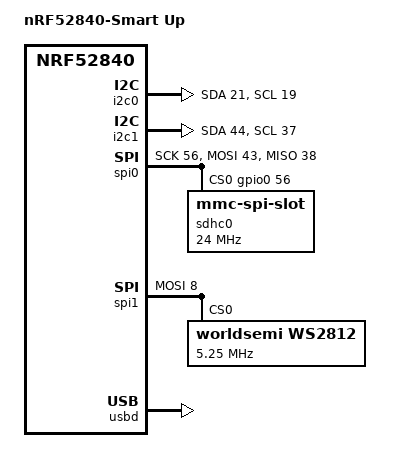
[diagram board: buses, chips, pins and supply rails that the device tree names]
/*
 * Copyright (c) 2017 Linaro Limited
 *
 * SPDX-License-Identifier: Apache-2.0
 */

/dts-v1/;
#include <nordic/nrf52840_qiaa.dtsi>

/ {
    model = "nRF52840-Smart Up";
    compatible = "nordic,nrf52840-qiaa","nordic,nrf52840";

    chosen {
        zephyr,sram = &sram0;
        zephyr,flash = &flash0;
        zephyr,code-partition = &slot0_partition;
    };

    /* These aliases are provided for compatibility with samples */
    aliases {
        icm-20498 = &i2c0;
        bmp-280 = &i2c1;
        sd-card = &spi0;
        neo-pixel = &spi1;
    };
};

&gpio0 {
	status ="ok";
};

&gpio1 {
	status ="ok";
};

&gpiote {
	status ="ok";
};

&i2c0  {
    status = "ok";
    sda-pin = <21>;
    scl-pin = <19>;
};

&i2c1  {
    status = "ok";
    sda-pin = <44>;
    scl-pin = <37>;
};


&spi0 {
    status = "ok";
    sck-pin = <56>;
    mosi-pin = <43>;
    miso-pin = <38>;
    cs-gpios = <&gpio0 56 0>;

    sdhc0: sdhc@0 {
        compatible = "zephyr,mmc-spi-slot";
        status = "ok";
        reg = <0>;
        spi-max-frequency = <24000000>;
    };
};

&spi1 {
    mosi-pin = <8>;
    ws2812@0 {
        compatible = "worldsemi,ws2812";
        spi-max-frequency = <5250000>;
        reg = <0>;
        label = "WS2812";
    };
};


&flash0 {
    /*
     * For more information, see:
     * http://docs.zephyrproject.org/latest/guides/dts/index.html#flash-partitions
     */
    partitions {
        compatible = "fixed-partitions";
        #address-cells = <1>;
        #size-cells = <1>;

        boot_partition: partition@0 {
            label = "mcuboot";
            reg = <0x000000000 0x0000C000>;
        };
        slot0_partition: partition@c000 {
            label = "image-0";
            reg = <0x0000C000 0x000067000>;
        };
        slot1_partition: partition@73000 {
            label = "image-1";
            reg = <0x00073000 0x000067000>;
        };
        scratch_partition: partition@da000 {
            label = "image-scratch";
            reg = <0x000da000 0x0001e000>;
        };

        /*
         * The flash starting at 0x000f8000 and ending at
         * 0x000fffff is reserved for use by the application.
         */

        /* Storage partition will be used by FCB/NFFS/NVS if enabled. */
        storage_partition: partition@f8000 {
            label = "storage";
            reg = <0x000f8000 0x00008000>;
        };
    };
};

&usbd {
    compatible = "nordic,nrf-usbd";
    status = "ok";
};
